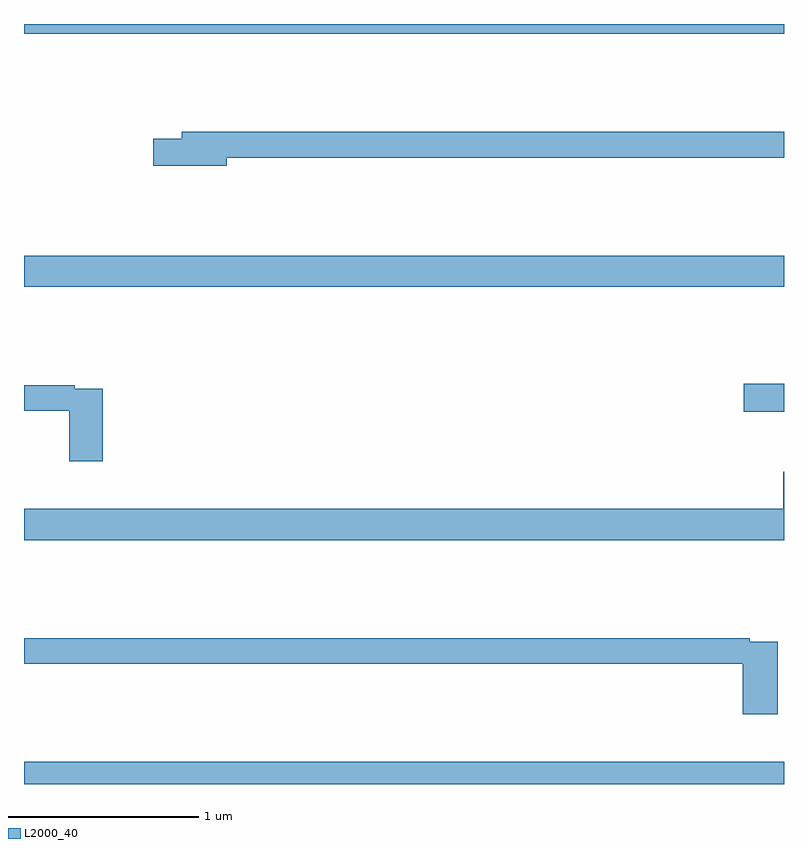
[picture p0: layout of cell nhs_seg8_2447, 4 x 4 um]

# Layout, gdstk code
import gdstk
lib = gdstk.Library(unit=1e-6, precision=1e-09)
def R(c, l, rs):  # rectangles x0, y0, x1, y1
    for r in rs: c.add(gdstk.rectangle(r[:2], r[2:], *l))
def P(c, l, *ps):  # polygons
    for p in ps: c.add(gdstk.Polygon(p, *l))
L2000_40 = (2000, 40)

nhs_seg8_2447 = lib.new_cell('nhs_seg8_2447')
R(nhs_seg8_2447, L2000_40, [(265,1097.9,269,1098.016), (268.788,1099.859,269,1100.006), (265,1100.516,269,1100.68), (265,1101.848,269,1101.9)])
P(nhs_seg8_2447, L2000_40, [(266.068,1101.196),(269,1101.196),(269,1101.332),(265.829,1101.332),(265.829,1101.296),(265.68,1101.296),(265.68,1101.154),(266.068,1101.154)],
  [(265.415,1099.98),(265.268,1099.98),(265.268,1100),(265,1100),(265,1099.864),(265.237,1099.864),(265.237,1099.599),(265.415,1099.599)],
  [(269,1099.543),(268.997,1099.543),(268.997,1099.348),(265,1099.348),(265,1099.184),(269,1099.184)],
  [(268.967,1098.648),(268.82,1098.648),(268.82,1098.668),(265,1098.668),(265,1098.532),(268.784,1098.532),(268.784,1098.267),(268.967,1098.267)])

lib.write_gds('nhs_seg8_2447.gds')
